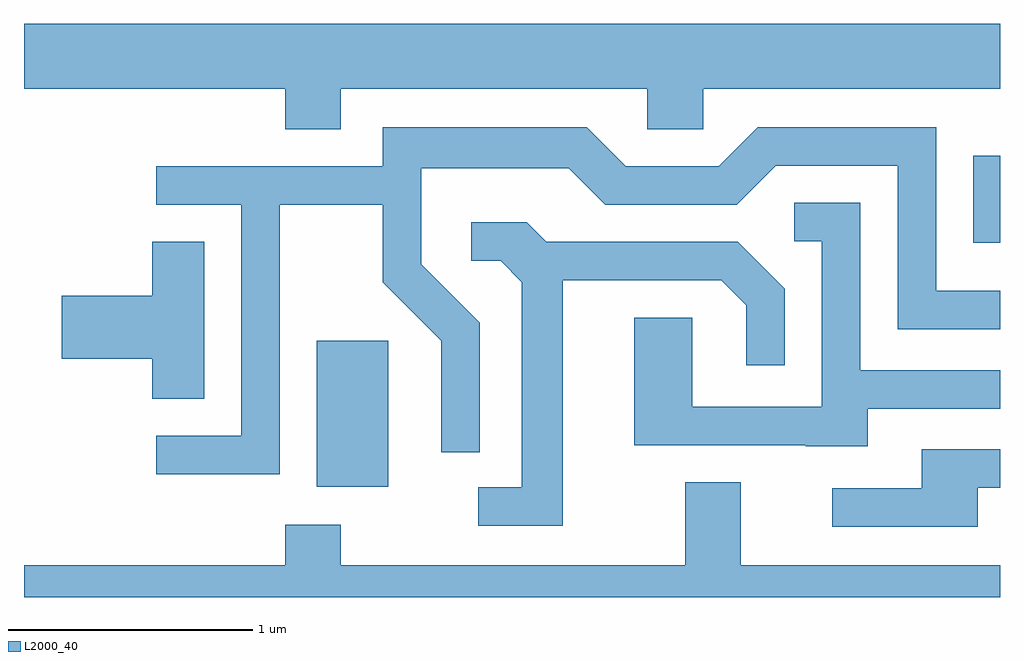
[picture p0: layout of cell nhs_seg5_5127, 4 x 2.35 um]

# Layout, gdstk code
import gdstk
lib = gdstk.Library(unit=1e-6, precision=1e-09)
def R(c, l, rs):  # rectangles x0, y0, x1, y1
    for r in rs: c.add(gdstk.rectangle(r[:2], r[2:], *l))
def P(c, l, *ps):  # polygons
    for p in ps: c.add(gdstk.Polygon(p, *l))
L2000_40 = (2000, 40)

nhs_seg5_5127 = lib.new_cell('nhs_seg5_5127')
R(nhs_seg5_5127, L2000_40, [(338.811,1428.526,339.104,1429.124), (341.501,1429.526,341.611,1429.883)])
P(nhs_seg5_5127, L2000_40, [(338.909,1430.156),(340.166,1430.156),(340.166,1429.991),(340.394,1429.991),(340.394,1430.156),(341.611,1430.156),(341.611,1430.424),(337.611,1430.424),(337.611,1430.156),(338.681,1430.156),(338.681,1429.991),(338.909,1429.991)],
  [(338.659,1429.681),(339.081,1429.681),(339.081,1429.364),(339.321,1429.124),(339.321,1428.668),(339.479,1428.668),(339.479,1429.197),(339.239,1429.437),(339.239,1429.831),(339.844,1429.831),(339.994,1429.681),(340.532,1429.681),(340.692,1429.841),(341.191,1429.841),(341.191,1429.171),(341.611,1429.171),(341.611,1429.329),(341.349,1429.329),(341.349,1429.999),(340.619,1429.999),(340.459,1429.839),(340.077,1429.839),(339.917,1429.999),(339.081,1429.999),(339.081,1429.839),(338.153,1429.839),(338.153,1429.681),(338.501,1429.681),(338.501,1428.734),(338.153,1428.734),(338.153,1428.576),(338.659,1428.576)],
  [(341.069,1428.846),(341.611,1428.846),(341.611,1429.004),(341.039,1429.004),(341.039,1429.689),(340.768,1429.689),(340.768,1429.531),(340.881,1429.531),(340.881,1428.854),(340.349,1428.854),(340.349,1429.219),(340.111,1429.219),(340.111,1428.696),(340.815,1428.696),(340.815,1428.691),(341.069,1428.691)],
  [(339.819,1429.371),(340.469,1429.371),(340.571,1429.269),(340.571,1429.023),(340.729,1429.023),(340.729,1429.337),(340.537,1429.529),(339.752,1429.529),(339.672,1429.609),(339.443,1429.609),(339.443,1429.451),(339.564,1429.451),(339.651,1429.364),(339.651,1428.524),(339.473,1428.524),(339.473,1428.366),(339.819,1428.366)],
  [(338.349,1429.529),(338.136,1429.529),(338.136,1429.309),(337.766,1429.309),(337.766,1429.051),(338.136,1429.051),(338.136,1428.886),(338.349,1428.886)],
  [(341.519,1428.521),(341.611,1428.521),(341.611,1428.679),(341.291,1428.679),(341.291,1428.519),(340.923,1428.519),(340.923,1428.361),(341.519,1428.361)],
  [(341.611,1428.204),(340.549,1428.204),(340.549,1428.544),(340.321,1428.544),(340.321,1428.204),(338.909,1428.204),(338.909,1428.369),(338.681,1428.369),(338.681,1428.204),(337.611,1428.204),(337.611,1428.072),(341.611,1428.072)])

lib.write_gds('nhs_seg5_5127.gds')
